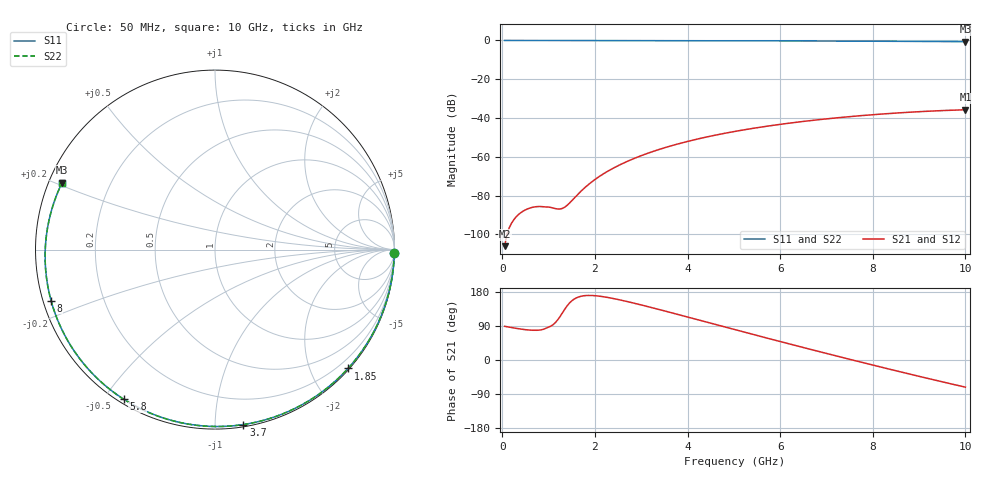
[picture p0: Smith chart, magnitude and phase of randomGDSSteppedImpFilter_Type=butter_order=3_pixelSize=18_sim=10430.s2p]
! freq	dB(S11)	phase(S11)	dB(S12)	phase(S12)
!  dB(S21)	phase(S21)	dB(S22)	phase(S22)
!S-par simulation data
#  GHz  S  DB  R 50
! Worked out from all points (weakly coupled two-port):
!   200 points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, 50 MHz to 10 GHz, reference 50 ohm
!   highest |S21| = -35.71 dB at 10 GHz (marker M1); lowest = -106.0 dB at 50 MHz (marker M2)
!   lowest |S11| = -0.6 dB at 10 GHz (marker M3), VSWR 27.52, Z = 1.9 + j10.5 ohm
!   |S11| at or under -10 dB: nowhere
!   |S22| runs from -0.6 to 0.0 dB; largest |S21 - S12| = 0
!   S11 on the Smith chart (normalised r, x): 50 MHz: open; 1.85 GHz: 0.02, -2.62; 3.7 GHz: 0.01, -1.18; 5.8 GHz: 0.02, -0.56; 8 GHz: 0.02, -0.15; 10 GHz: 0.04, +0.21
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0.05  -0.00 -1.1  -106.03 88.9  -106.03 88.9  -0.00 -1.1
0.45  -0.02 -10.3  -87.97 80.8  -87.97 80.8  -0.02 -10.3
0.8  -0.02 -18.3  -85.59 78.9  -85.59 78.9  -0.02 -18.3
1.6  -0.05 -36.3  -80.08 164.0  -80.08 164.0  -0.05 -36.3
1.75  -0.05 -39.6  -76.55 169.3  -76.55 169.3  -0.05 -39.6
1.85  -0.05 -41.8  -74.47 170.3  -74.47 170.3  -0.05 -41.8
2.15  -0.06 -48.3  -69.26 167.6  -69.26 167.6  -0.06 -48.3
2.5  -0.07 -55.9  -64.55 159.7  -64.55 159.7  -0.07 -55.9
2.9  -0.08 -64.3  -60.30 148.3  -60.30 148.3  -0.08 -64.3
3.4  -0.10 -74.7  -56.08 132.8  -56.08 132.8  -0.10 -74.7
3.7  -0.11 -80.8  -53.95 123.2  -53.95 123.2  -0.11 -80.8
4.35  -0.13 -93.7  -50.08 102.1  -50.08 102.1  -0.13 -93.7
5.05  -0.16 -107.3  -46.76 79.3  -46.76 79.3  -0.16 -107.3
5.8  -0.21 -121.5  -43.91 55.1  -43.91 55.1  -0.21 -121.5
6.7  -0.27 -138.3  -41.18 26.6  -41.18 26.6  -0.27 -138.3
7.35  -0.32 -150.4  -39.59 6.5  -39.59 6.5  -0.32 -150.4
8  -0.39 -162.8  -38.27 -13.4  -38.27 -13.4  -0.39 -162.8
8.35  -0.42 -169.5  -37.66 -23.9  -37.66 -23.9  -0.42 -169.5
8.8  -0.47 -178.4  -36.98 -37.3  -36.98 -37.3  -0.47 -178.4
9.2  -0.52 173.4  -36.47 -49.0  -36.47 -49.0  -0.52 173.4
9.6  -0.58 165.0  -36.05 -60.4  -36.05 -60.4  -0.58 165.0
10  -0.63 156.3  -35.71 -71.6  -35.71 -71.6  -0.63 156.3
